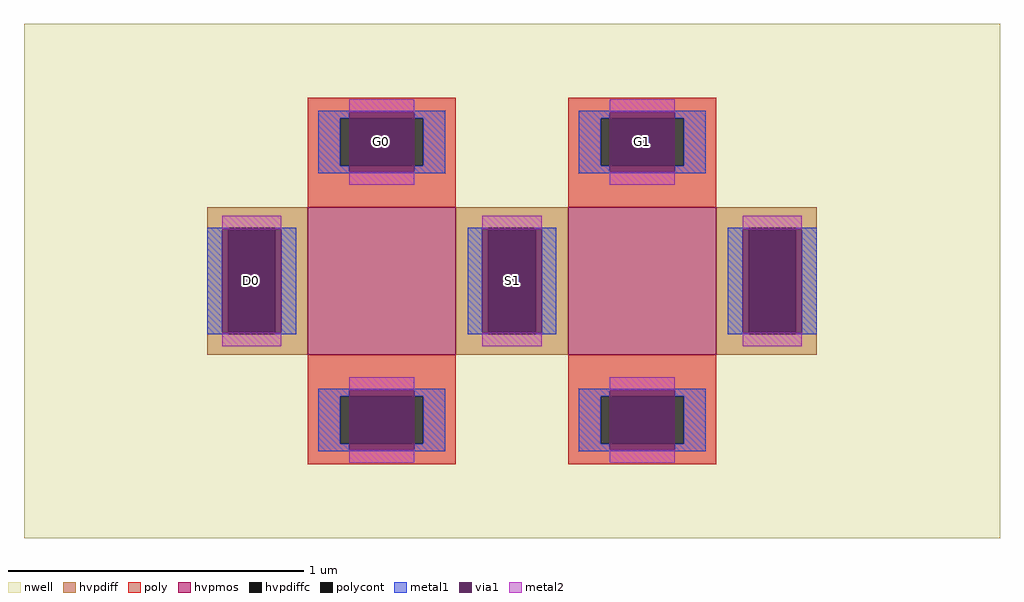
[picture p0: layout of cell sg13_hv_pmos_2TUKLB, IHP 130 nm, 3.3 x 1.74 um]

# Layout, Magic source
magic
tech ihp-sg13cmos5l
magscale 1 2
<< nwell >>
rect -330 -174 330 174
<< hvpmos >>
rect -138 -50 -38 50
rect 38 -50 138 50
<< hvpdiff >>
rect -206 36 -138 50
rect -206 -36 -192 36
rect -160 -36 -138 36
rect -206 -50 -138 -36
rect -38 36 38 50
rect -38 -36 -16 36
rect 16 -36 38 36
rect -38 -50 38 -36
rect 138 36 206 50
rect 138 -36 160 36
rect 192 -36 206 36
rect 138 -50 206 -36
<< hvpdiffc >>
rect -192 -36 -160 36
rect -16 -36 16 36
rect 160 -36 192 36
<< poly >>
rect -138 110 -38 124
rect -138 78 -116 110
rect -60 78 -38 110
rect -138 50 -38 78
rect 38 110 138 124
rect 38 78 60 110
rect 116 78 138 110
rect 38 50 138 78
rect -138 -78 -38 -50
rect -138 -110 -116 -78
rect -60 -110 -38 -78
rect -138 -124 -38 -110
rect 38 -78 138 -50
rect 38 -110 60 -78
rect 116 -110 138 -78
rect 38 -124 138 -110
<< polycont >>
rect -116 78 -60 110
rect 60 78 116 110
rect -116 -110 -60 -78
rect 60 -110 116 -78
<< metal1 >>
rect -131 114 -45 115
rect -131 110 -110 114
rect -66 110 -45 114
rect -131 78 -116 110
rect -60 78 -45 110
rect -131 74 -110 78
rect -66 74 -45 78
rect -131 73 -45 74
rect 45 114 131 115
rect 45 110 66 114
rect 110 110 131 114
rect 45 78 60 110
rect 116 78 131 110
rect 45 74 66 78
rect 110 74 131 78
rect 45 73 131 74
rect -206 35 -192 36
rect -160 35 -146 36
rect -206 -35 -196 35
rect -156 -35 -146 35
rect -206 -36 -192 -35
rect -160 -36 -146 -35
rect -30 35 -16 36
rect 16 35 30 36
rect -30 -35 -20 35
rect 20 -35 30 35
rect -30 -36 -16 -35
rect 16 -36 30 -35
rect 146 35 160 36
rect 192 35 206 36
rect 146 -35 156 35
rect 196 -35 206 35
rect 146 -36 160 -35
rect 192 -36 206 -35
rect -131 -74 -45 -73
rect -131 -78 -110 -74
rect -66 -78 -45 -74
rect -131 -110 -116 -78
rect -60 -110 -45 -78
rect -131 -114 -110 -110
rect -66 -114 -45 -110
rect -131 -115 -45 -114
rect 45 -74 131 -73
rect 45 -78 66 -74
rect 110 -78 131 -74
rect 45 -110 60 -78
rect 116 -110 131 -78
rect 45 -114 66 -110
rect 110 -114 131 -110
rect 45 -115 131 -114
<< via1 >>
rect -110 110 -66 114
rect -110 78 -66 110
rect -110 74 -66 78
rect 66 110 110 114
rect 66 78 110 110
rect 66 74 110 78
rect -196 -35 -192 35
rect -192 -35 -160 35
rect -160 -35 -156 35
rect -20 -35 -16 35
rect -16 -35 16 35
rect 16 -35 20 35
rect 156 -35 160 35
rect 160 -35 192 35
rect 192 -35 196 35
rect -110 -78 -66 -74
rect -110 -110 -66 -78
rect -110 -114 -66 -110
rect 66 -78 110 -74
rect 66 -110 110 -78
rect 66 -114 110 -110
<< metal2 >>
rect -110 114 -66 123
rect -110 65 -66 74
rect 66 114 110 123
rect 66 65 110 74
rect -196 35 -156 44
rect -196 -44 -156 -35
rect -20 35 20 44
rect -20 -44 20 -35
rect 156 35 196 44
rect 156 -44 196 -35
rect -110 -74 -66 -65
rect -110 -123 -66 -114
rect 66 -74 110 -65
rect 66 -123 110 -114
<< labels >>
rlabel hvpdiffc -176 0 -176 0 0 D0
port 1 nsew
rlabel polycont -88 94 -88 94 0 G0
port 2 nsew
rlabel hvpdiffc 0 0 0 0 0 S1
port 3 nsew
rlabel polycont 88 94 88 94 0 G1
port 4 nsew
<< properties >>
string gencell sg13_hv_pmos
string library sg13cmos5l
string parameters w 0.5 l 0.5 m 1 ng 2 diffcov 100 polycov 100 guard 0 glc 1 grc 1 gtc 1 gbc 1 tbcov 100 rlcov 100 topc 1 botc 1 poverlap 0 doverlap 1 lmin 0.4 wmin 0.15 class mosfet compatible {sg13_lv_pmos sg13_hv_pmos} full_metal 1 conn_gates 0 gate_ring 0 ccols 1 viasrc 100 viadrn 100 viagate 80 viagb 0 viagr 0 viagl 0 viagt 0 doports 1
<< end >>
